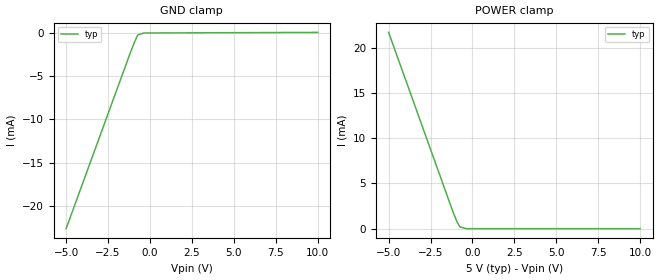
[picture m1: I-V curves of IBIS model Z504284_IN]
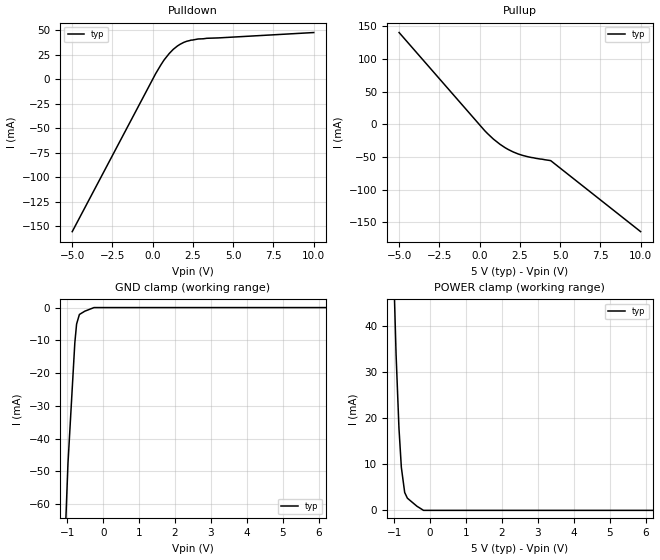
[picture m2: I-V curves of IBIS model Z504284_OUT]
| YOU ARE ONLY AUTHORIZED TO USE THIS SOFTWARE
| ACCORDING TO LICENSOR'S LICENSE RESTRICTIONS.
[IBIS Ver] 3.1
[File Name] mc74hc75d.ibs
[File Rev] 2.0
[Source] Measured and created by ICX Technology
[Date] Friday 7/14/00 9:08:11 AM
[Copyright]
| (C) COPYRIGHT 1993-2000
| MENTOR GRAPHICS CORPORATION
| ICX STANDARD LIBRARY, ICX PROJECT MODELING,
| ICX CUSTOM MODELING, ICX VENDOR MODEL
| ALL RIGHTS RESERVED.
| THE FOLLOWING ARE TRADEMARKS OR SERVICE MARKS OF
| MENTOR GRAPHICS CORPORATION:ICX (R), ICX STANDARD
| LIBRARY(R), ICX PROJECT MODELING(R), ICX CUSTOM
| MODELING(R), qualityIBIS(TM), MODELVIEWER(TM),
| AND MODELEDITOR(TM)
| ALL COPIES OF SOFTWARE, INCLUDING BUT NOT LIMITED TO
| ANY MODIFICATIONS, ENHANCEMENTS OR DERIVATIVE WORKS,
| MUST CONTAIN ALL MENTOR GRAPHICS CORPORATION'S
| NOTICES AND LEGENDS, INCLUDING THOSE EMBEDDED IN
| SOFTWARE AND THOSE AFFIXED TO SOFTWARE MEDIUM
| AND CONTAINER, AS RECEIVED FROM MENTOR GRAPHICS
| CORPORATION.
|  ZAP Model Builder 2.7
[Component] MC74HC75D
[Manufacturer] OnSemiconductor
[Package]
| variable   typ   min   max
R_pkg  .156ohms NA NA
L_pkg  3.148nH NA NA
C_pkg  .388pF NA NA
[Pin] signal_name  model_name  R_pin  L_pin C_pin
1 _Q0 Z504284_OUT .162 3.798n .418p
2 D0 Z504284_IN .158 3.358n .398p
3 D1 Z504284_IN .154 2.928n .378p
4 CLK Z504284_IN .15 2.508n .358p
5 VCC POWER .15 2.508n .358p
6 D0 Z504284_IN .154 2.928n .378p
7 D1 Z504284_IN .158 3.358n .398p
8 _Q1 Z504284_OUT .162 3.798n .418p
9 Q1 Z504284_OUT .162 3.798n .418p
10 Q0 Z504284_OUT .158 3.358n .398p
11 _Q0 Z504284_OUT .154 2.928n .378p
12 GND GND .15 2.508n .358p
13 CLK Z504284_IN .15 2.508n .358p
14 _Q1 Z504284_OUT .154 2.928n .378p
15 Q1 Z504284_OUT .158 3.358n .398p
16 Q0 Z504284_OUT .162 3.798n .418p
| Models and submodels in the file (2): Z504284_IN (Input), Z504284_OUT (Output)
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| (C) COPYRIGHT 1993-2000
| MENTOR GRAPHICS CORPORATION
| ICX STANDARD LIBRARY, ICX PROJECT MODELING,
| ICX CUSTOM MODELING, ICX VENDOR MODEL
| ALL RIGHTS RESERVED.
| THE FOLLOWING ARE TRADEMARKS OR SERVICE MARKS OF
| MENTOR GRAPHICS CORPORATION:ICX (R), ICX STANDARD
| LIBRARY(R), ICX PROJECT MODELING(R), ICX CUSTOM
| MODELING(R), qualityIBIS(TM), MODELVIEWER(TM),
| AND MODELEDITOR(TM)
| ALL COPIES OF SOFTWARE, INCLUDING BUT NOT LIMITED TO
| ANY MODIFICATIONS, ENHANCEMENTS OR DERIVATIVE WORKS,
| MUST CONTAIN ALL MENTOR GRAPHICS CORPORATION'S
| NOTICES AND LEGENDS, INCLUDING THOSE EMBEDDED IN
| SOFTWARE AND THOSE AFFIXED TO SOFTWARE MEDIUM
| AND CONTAINER, AS RECEIVED FROM MENTOR GRAPHICS
| CORPORATION.
| Model Application Version 1.89 2/18/99.
[Model] Z504284_IN
Model_type Input
Vinl = 1.000V
Vinh = 3.500V
C_comp 4.000pF NA NA
| variable typ   min   max
[Voltage Range] 5.000V NA NA
[GND Clamp Reference] 0.000V NA NA
[POWER Clamp Reference] 5.000V NA NA
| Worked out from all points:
|   POWER clamp passes 1 mA (typ) near -0.97 V on its own axis
[GND Clamp]
-5V       -22.6mA    NA         NA
-1.167V   -2.293mA   NA         NA
-898.2mV  -975.5uA   NA         NA
-728.2mV  -262.7uA   NA         NA
-364.1mV  -32.15uA   NA         NA
10V       38.18uA    NA         NA
[POWER Clamp]
-5V       21.72mA    NA         NA
-1.152V   1.812mA    NA         NA
-923mV    774.1uA    NA         NA
-747mV    195.9uA    NA         NA
-373.5mV  0A         NA         NA
10V       0A         NA         NA
| (C) COPYRIGHT 1993-2000
| MENTOR GRAPHICS CORPORATION
| ICX STANDARD LIBRARY, ICX PROJECT MODELING,
| ICX CUSTOM MODELING, ICX VENDOR MODEL
| ALL RIGHTS RESERVED.
| THE FOLLOWING ARE TRADEMARKS OR SERVICE MARKS OF
| MENTOR GRAPHICS CORPORATION:ICX (R), ICX STANDARD
| LIBRARY(R), ICX PROJECT MODELING(R), ICX CUSTOM
| MODELING(R), qualityIBIS(TM), MODELVIEWER(TM),
| AND MODELEDITOR(TM)
| ALL COPIES OF SOFTWARE, INCLUDING BUT NOT LIMITED TO
| ANY MODIFICATIONS, ENHANCEMENTS OR DERIVATIVE WORKS,
| MUST CONTAIN ALL MENTOR GRAPHICS CORPORATION'S
| NOTICES AND LEGENDS, INCLUDING THOSE EMBEDDED IN
| SOFTWARE AND THOSE AFFIXED TO SOFTWARE MEDIUM
| AND CONTAINER, AS RECEIVED FROM MENTOR GRAPHICS
| CORPORATION.
| Model Application Version 1.89 2/18/99.
[Model] Z504284_OUT
Model_type Output
Vref=0.000V
Rref=500.0Mohms
Cref=50.00pF
Vmeas=2.500V
C_comp 8.000pF NA NA
| variable typ   min   max
[Voltage Range] 5.000V NA NA
[POWER Clamp Reference] 5.000V NA NA
[Pullup Reference] 5.000V NA NA
[Pulldown Reference] 0.000V NA NA
[GND Clamp Reference] 0.000V NA NA
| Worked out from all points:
|   slope of the pulldown table from 0 to 0.75 V, typ, clamps not added: 36.4 ohm
|   slope of the pullup table from 0 to 0.75 V, typ, clamps not added: 38.7 ohm
[GND Clamp]
-5V       -1.543A    NA         NA
-1.161V   -99.33mA   NA         NA
-982.3mV  -47.62mA   NA         NA
-791mV    -10.72mA   NA         NA
-742.1mV  -5.025mA   NA         NA
-664mV    -2.109mA   NA         NA
-512.8mV  -1.103mA   NA         NA
-256.4mV  0A         NA         NA
10V       0A         NA         NA
[Pulldown]
-5V       -155.7mA   NA         NA
183mV     5.822mA    NA         NA
703.1mV   19.74mA    NA         NA
1.27V     30.55mA    NA         NA
1.92V     37.68mA    NA         NA
2.793V    41.14mA    NA         NA
10V       47.8mA     NA         NA
[Pullup]
-5V       140.7mA    NA         NA
313mV     -9.622mA   NA         NA
855mV     -22.59mA   NA         NA
1.582V    -35.79mA   NA         NA
2.41V     -45.57mA   NA         NA
3.242V    -50.98mA   NA         NA
4.414V    -55.62mA   NA         NA
10V       -164.5mA   NA         NA
[POWER Clamp]
-5V       1.418A     NA         NA
-1.099V   75.17mA    NA         NA
-948mV    33.86mA    NA         NA
-868mV    17.9mA     NA         NA
-801mV    9.331mA    NA         NA
-708mV    3.872mA    NA         NA
-633mV    2.644mA    NA         NA
-366mV    889.3uA    NA         NA
-183mV    0A         NA         NA
10V       0A         NA         NA
[Ramp]
| variable typ min max
dV/dt_r 2.819/1.710n NA NA
dV/dt_f 2.819/1.297n NA NA
R_load = 500.0Ohms
